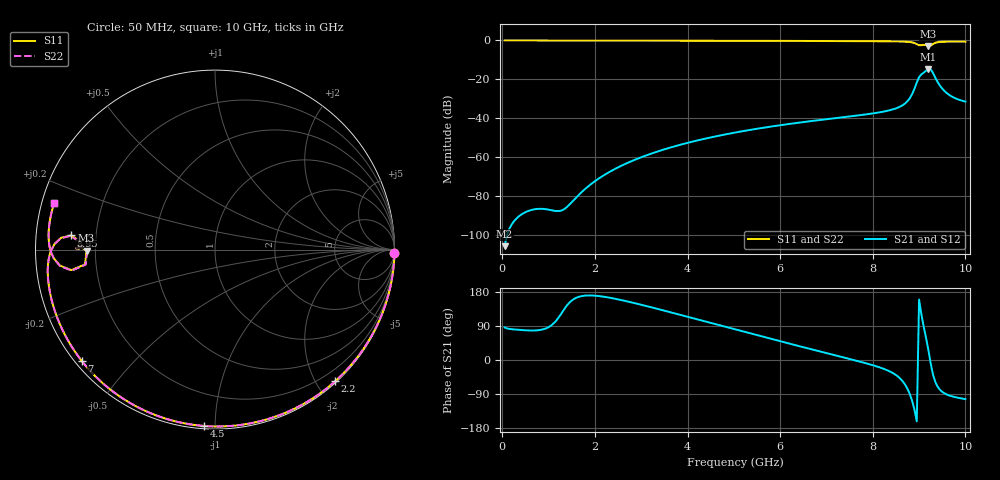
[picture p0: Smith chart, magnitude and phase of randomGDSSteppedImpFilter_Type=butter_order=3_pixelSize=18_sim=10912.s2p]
! freq	dB(S11)	phase(S11)	dB(S12)	phase(S12)
!  dB(S21)	phase(S21)	dB(S22)	phase(S22)
!S-par simulation data
#  GHz  S  DB  R 50
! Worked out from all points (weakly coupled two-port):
!   200 points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, 50 MHz to 10 GHz, reference 50 ohm
!   highest |S21| = -14.62 dB at 9.2 GHz (marker M1); lowest = -105.9 dB at 50 MHz (marker M2)
!   lowest |S11| = -2.9 dB at 9.2 GHz (marker M3), VSWR 6.03, Z = 8.3 - j0.214 ohm
!   |S11| at or under -10 dB: nowhere
!   |S22| runs from -3.0 to 0.0 dB; largest |S21 - S12| = 0
!   S11 on the Smith chart (normalised r, x): 50 MHz: open; 2.2 GHz: 0.02, -2.26; 4.5 GHz: 0.01, -0.94; 7 GHz: 0.02, -0.36; 8.95 GHz: 0.11, +0.05; 10 GHz: 0.04, +0.14
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0.05  -0.00 -1.1  -105.94 86.0  -105.94 86.0  -0.00 -1.1
1.6  -0.04 -35.0  -80.78 164.4  -80.78 164.4  -0.04 -34.9
1.75  -0.05 -38.2  -77.29 169.3  -77.29 169.3  -0.05 -38.1
2.2  -0.06 -47.6  -69.32 166.9  -69.32 166.9  -0.06 -47.6
2.75  -0.08 -59.0  -62.57 153.1  -62.57 153.1  -0.08 -59.0
3.4  -0.09 -72.1  -56.81 133.3  -56.81 133.3  -0.09 -72.1
4.5  -0.13 -93.5  -49.94 97.8  -49.94 97.8  -0.13 -93.5
5.05  -0.16 -103.9  -47.33 80.0  -47.33 80.0  -0.16 -103.8
6.7  -0.26 -134.5  -41.43 27.5  -41.43 27.5  -0.26 -134.4
7  -0.29 -140.1  -40.56 18.2  -40.56 18.2  -0.29 -140.0
8.35  -0.46 -167.2  -36.04 -29.2  -36.04 -29.2  -0.46 -167.0
8.6  -0.56 -173.5  -33.96 -49.9  -33.96 -49.9  -0.55 -173.3
8.75  -0.71 -178.2  -31.26 -76.2  -31.26 -76.2  -0.70 -178.0
8.85  -0.99 177.8  -27.63 -107.9  -27.63 -107.9  -0.97 178.0
8.95  -1.87 174.4  -21.67 -161.9  -21.67 -161.9  -1.83 174.6
9  -2.46 176.5  -18.91 159.6  -18.91 159.6  -2.40 176.5
9.1  -2.24 179.6  -16.61 87.7  -16.61 87.7  -2.23 179.4
9.2  -2.91 -179.5  -14.62 26.8  -14.62 26.8  -2.95 -179.6
9.3  -1.84 -171.9  -16.72 -38.3  -16.72 -38.3  -1.87 -171.6
9.45  -0.78 -179.3  -23.27 -78.5  -23.27 -78.5  -0.78 -179.1
9.6  -0.62 175.0  -27.15 -91.2  -27.15 -91.2  -0.62 175.2
10  -0.60 163.7  -31.47 -103.3  -31.47 -103.3  -0.60 163.9
